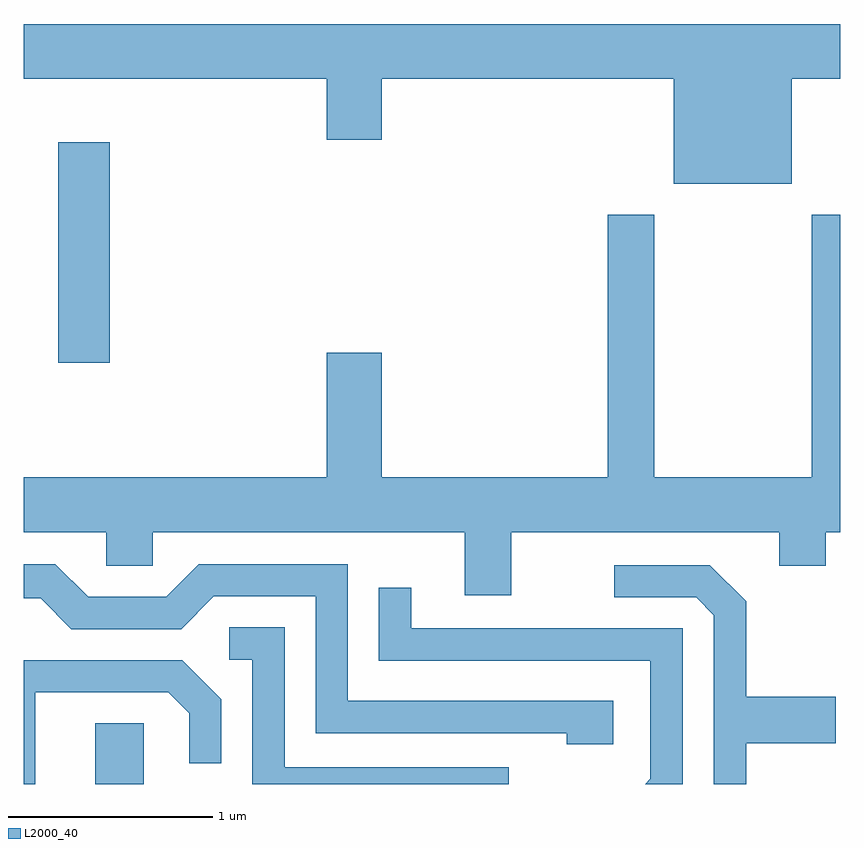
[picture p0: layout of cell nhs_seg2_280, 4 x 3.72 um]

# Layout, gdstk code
import gdstk
lib = gdstk.Library(unit=1e-6, precision=1e-09)
def R(c, l, rs):  # rectangles x0, y0, x1, y1
    for r in rs: c.add(gdstk.rectangle(r[:2], r[2:], *l))
def P(c, l, *ps):  # polygons
    for p in ps: c.add(gdstk.Polygon(p, *l))
L2000_40 = (2000, 40)

nhs_seg2_280 = lib.new_cell('nhs_seg2_280')
R(nhs_seg2_280, L2000_40, [(193.961,993.802,194.199,994.099), (193.781,995.866,194.034,996.944)])
P(nhs_seg2_280, L2000_40, [(197.374,997.256),(197.611,997.256),(197.611,997.524),(193.611,997.524),(193.611,997.256),(195.096,997.256),(195.096,996.956),(195.364,996.956),(195.364,997.256),(196.796,997.256),(196.796,996.741),(197.374,996.741)],
  [(195.999,995.036),(197.311,995.036),(197.311,994.871),(197.539,994.871),(197.539,995.036),(197.611,995.036),(197.611,996.589),(197.471,996.589),(197.471,995.304),(196.699,995.304),(196.699,996.589),(196.471,996.589),(196.471,995.304),(195.364,995.304),(195.364,995.914),(195.096,995.914),(195.096,995.304),(193.611,995.304),(193.611,995.036),(194.016,995.036),(194.016,994.871),(194.244,994.871),(194.244,995.036),(195.771,995.036),(195.771,994.726),(195.999,994.726)],
  [(196.499,994.209),(195.199,994.209),(195.199,994.879),(194.469,994.879),(194.309,994.719),(193.927,994.719),(193.767,994.879),(193.611,994.879),(193.611,994.711),(193.694,994.711),(193.844,994.561),(194.382,994.561),(194.542,994.721),(195.041,994.721),(195.041,994.051),(196.271,994.051),(196.271,993.996),(196.499,993.996)],
  [(197.149,994.001),(197.589,994.001),(197.589,994.229),(197.149,994.229),(197.149,994.697),(196.972,994.874),(196.503,994.874),(196.503,994.716),(196.904,994.716),(196.991,994.629),(196.991,993.802),(197.149,993.802)],
  [(196.839,994.564),(195.509,994.564),(195.509,994.763),(195.351,994.763),(195.351,994.406),(196.681,994.406),(196.681,993.827),(196.656,993.802),(196.839,993.802)],
  [(195.988,993.884),(194.889,993.884),(194.889,994.569),(194.618,994.569),(194.618,994.411),(194.731,994.411),(194.731,993.802),(195.988,993.802)],
  [(193.669,994.251),(194.319,994.251),(194.421,994.149),(194.421,993.903),(194.579,993.903),(194.579,994.217),(194.387,994.409),(193.611,994.409),(193.611,993.802),(193.669,993.802)])

lib.write_gds('nhs_seg2_280.gds')
